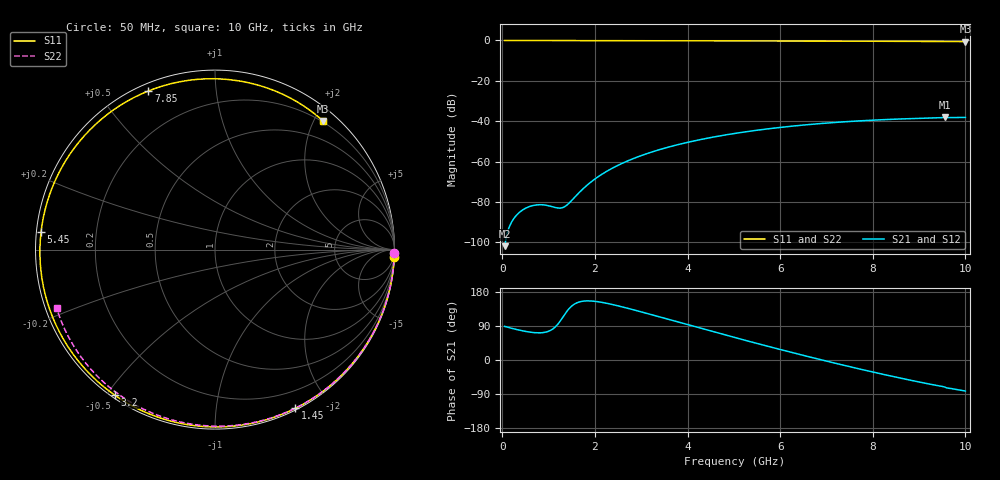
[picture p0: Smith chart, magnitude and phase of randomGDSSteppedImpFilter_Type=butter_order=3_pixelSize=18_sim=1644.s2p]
! freq	dB(S11)	phase(S11)	dB(S12)	phase(S12)
!  dB(S21)	phase(S21)	dB(S22)	phase(S22)
!S-par simulation data
#  GHz  S  DB  R 50
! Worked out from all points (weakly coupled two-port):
!   200 points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, 50 MHz to 10 GHz, reference 50 ohm
!   highest |S21| = -38.02 dB at 9.55 GHz (marker M1); lowest = -101.9 dB at 50 MHz (marker M2)
!   lowest |S11| = -0.6 dB at 10 GHz (marker M3), VSWR 30.24, Z = 9.21 + j107 ohm
!   |S11| at or under -10 dB: nowhere
!   |S22| runs from -0.5 to 0.0 dB; largest |S21 - S12| = 0
!   S11 on the Smith chart (normalised r, x): 50 MHz: 0, -50; 1.45 GHz: 0.02, -1.63; 3.2 GHz: 0.01, -0.53; 5.45 GHz: 0.01, +0.05; 7.85 GHz: 0.03, +0.66; 10 GHz: 0.18, +2.13
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0.05  -0.00 -2.3  -101.89 88.7  -101.89 88.7  -0.00 -0.9
0.35  -0.02 -15.9  -85.56 79.3  -85.56 79.3  -0.01 -6.4
0.7  -0.04 -31.5  -81.60 72.1  -81.60 72.1  -0.02 -12.8
1.1  -0.06 -48.7  -82.47 82.7  -82.47 82.7  -0.03 -20.1
1.45  -0.08 -63.1  -80.41 136.6  -80.41 136.6  -0.03 -26.4
1.75  -0.09 -74.9  -73.35 155.3  -73.35 155.3  -0.04 -31.7
2.05  -0.10 -86.1  -67.81 154.0  -67.81 154.0  -0.05 -37.0
2.35  -0.11 -96.8  -63.59 147.2  -63.59 147.2  -0.05 -42.3
2.75  -0.12 -110.3  -59.25 135.1  -59.25 135.1  -0.06 -49.2
3.2  -0.14 -124.4  -55.46 120.3  -55.46 120.3  -0.07 -56.8
3.4  -0.14 -130.5  -54.04 113.6  -54.04 113.6  -0.08 -60.1
4.2  -0.17 -153.1  -49.47 86.5  -49.47 86.5  -0.10 -73.2
5.05  -0.21 -175.5  -45.94 58.3  -45.94 58.3  -0.13 -86.7
5.45  -0.23 174.3  -44.62 45.3  -44.62 45.3  -0.15 -92.9
6.05  -0.26 159.2  -42.94 26.2  -42.94 26.2  -0.18 -101.9
6.7  -0.30 142.8  -41.49 6.1  -41.49 6.1  -0.22 -111.6
7.3  -0.33 127.3  -40.43 -11.8  -40.43 -11.8  -0.26 -120.3
7.85  -0.37 112.7  -39.66 -27.5  -39.66 -27.5  -0.30 -128.3
8.35  -0.40 99.1  -39.11 -41.2  -39.11 -41.2  -0.35 -135.5
8.95  -0.45 82.0  -38.62 -56.8  -38.62 -56.8  -0.41 -144.2
9.55  -0.51 64.1  -38.02 -71.2  -38.02 -71.2  -0.48 -153.0
10  -0.57 50.0  -38.11 -82.0  -38.11 -82.0  -0.53 -159.8
